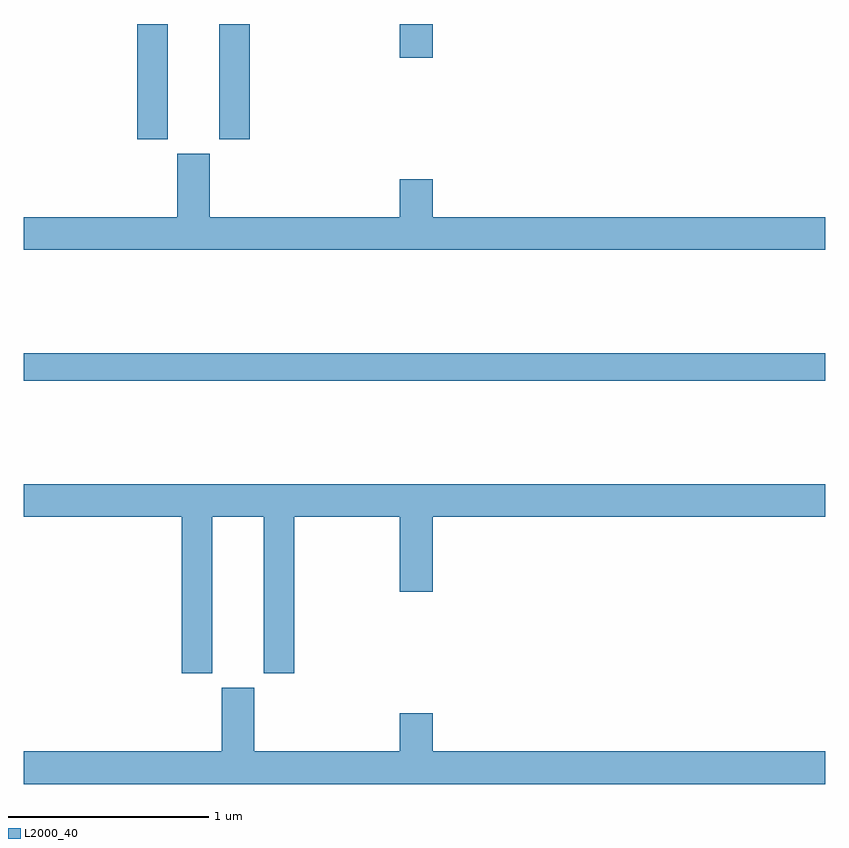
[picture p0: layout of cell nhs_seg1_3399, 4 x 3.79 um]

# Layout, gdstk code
import gdstk
lib = gdstk.Library(unit=1e-6, precision=1e-09)
def R(c, l, rs):  # rectangles x0, y0, x1, y1
    for r in rs: c.add(gdstk.rectangle(r[:2], r[2:], *l))
def P(c, l, *ps):  # polygons
    for p in ps: c.add(gdstk.Polygon(p, *l))
L2000_40 = (2000, 40)

nhs_seg1_3399 = lib.new_cell('nhs_seg1_3399')
R(nhs_seg1_3399, L2000_40, [(295,544.42,299,544.556), (295.568,545.625,295.72,546.199), (295.976,545.625,296.129,546.199), (296.876,546.03,297.04,546.199)])
P(nhs_seg1_3399, L2000_40, [(299,545.236),(297.04,545.236),(297.04,545.425),(296.876,545.425),(296.876,545.236),(295.93,545.236),(295.93,545.553),(295.766,545.553),(295.766,545.236),(295,545.236),(295,545.072),(299,545.072)],
  [(295.942,543.74),(296.198,543.74),(296.198,542.961),(296.351,542.961),(296.351,543.74),(296.876,543.74),(296.876,543.366),(297.04,543.366),(297.04,543.74),(299,543.74),(299,543.904),(295,543.904),(295,543.74),(295.79,543.74),(295.79,542.961),(295.942,542.961)],
  [(299,542.572),(297.04,542.572),(297.04,542.761),(296.876,542.761),(296.876,542.572),(296.152,542.572),(296.152,542.889),(295.988,542.889),(295.988,542.572),(295,542.572),(295,542.408),(299,542.408)])

lib.write_gds('nhs_seg1_3399.gds')
